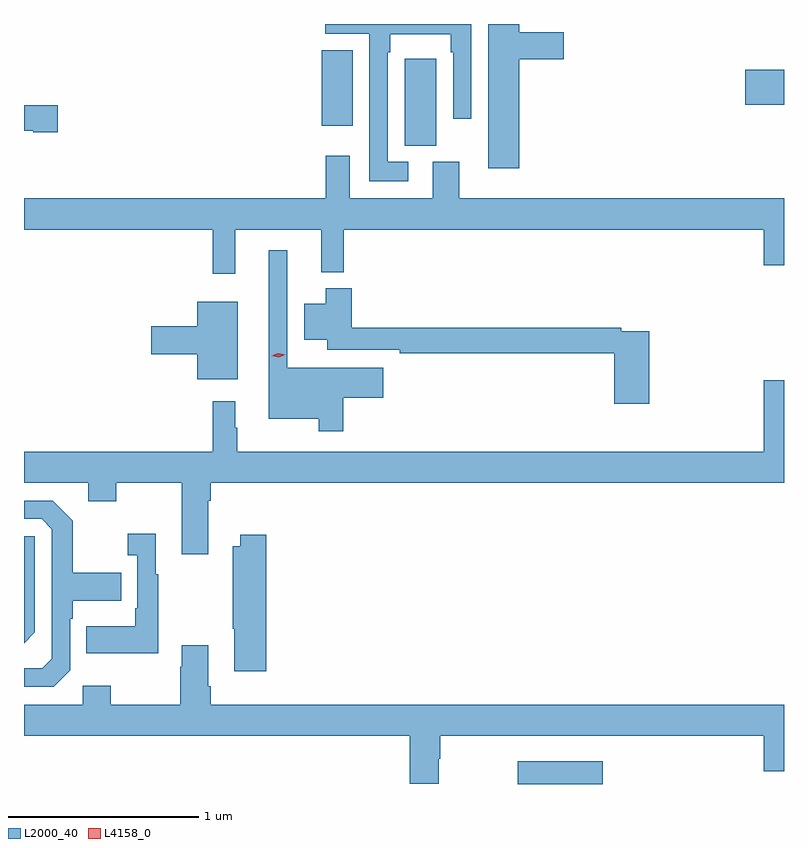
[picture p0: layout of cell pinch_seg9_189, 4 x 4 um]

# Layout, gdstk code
import gdstk
lib = gdstk.Library(unit=1e-6, precision=1e-09)
def R(c, l, rs):  # rectangles x0, y0, x1, y1
    for r in rs: c.add(gdstk.rectangle(r[:2], r[2:], *l))
def P(c, l, *ps):  # polygons
    for p in ps: c.add(gdstk.Polygon(p, *l))
L2000_40 = (2000, 40)
L4158_0 = (4158, 0)

pinch_seg9_189 = lib.new_cell('pinch_seg9_189')
R(pinch_seg9_189, L2000_40, [(643.233,1224.138,643.681,1224.259), (642.638,1227.497,642.805,1227.955), (642.203,1227.603,642.364,1228.001), (644.43,1227.713,644.635,1227.896)])
P(pinch_seg9_189, L2000_40, [(643.241,1227.953),(643.477,1227.953),(643.477,1228.095),(643.241,1228.095),(643.241,1228.138),(643.079,1228.138),(643.079,1227.378),(643.241,1227.378)],
  [(642.658,1227.412),(642.549,1227.412),(642.549,1227.989),(642.562,1227.989),(642.562,1228.085),(642.882,1228.085),(642.882,1227.989),(642.894,1227.989),(642.894,1227.639),(642.99,1227.639),(642.99,1228.138),(642.221,1228.138),(642.221,1228.086),(642.453,1228.086),(642.453,1227.311),(642.658,1227.311)],
  [(640.813,1227.71),(640.635,1227.71),(640.635,1227.575),(640.683,1227.575),(640.683,1227.568),(640.813,1227.568)],
  [(641.747,1227.056),(642.2,1227.056),(642.2,1226.831),(642.317,1226.831),(642.317,1227.056),(644.528,1227.056),(644.528,1226.868),(644.635,1226.868),(644.635,1227.22),(642.925,1227.22),(642.925,1227.412),(642.785,1227.412),(642.785,1227.22),(642.349,1227.22),(642.349,1227.445),(642.224,1227.445),(642.224,1227.22),(640.635,1227.22),(640.635,1227.056),(641.629,1227.056),(641.629,1226.823),(641.747,1226.823)],
  [(642.314,1226.171),(642.526,1226.171),(642.526,1226.329),(642.021,1226.329),(642.021,1226.947),(641.924,1226.947),(641.924,1226.06),(642.186,1226.06),(642.186,1225.995),(642.314,1225.995)],
  [(643.925,1226.52),(643.778,1226.52),(643.778,1226.54),(642.359,1226.54),(642.359,1226.746),(642.224,1226.746),(642.224,1226.665),(642.11,1226.665),(642.11,1226.477),(642.23,1226.477),(642.23,1226.424),(642.613,1226.424),(642.613,1226.404),(643.742,1226.404),(643.742,1226.139),(643.925,1226.139)],
  [(641.761,1226.677),(641.546,1226.677),(641.546,1226.546),(641.304,1226.546),(641.304,1226.399),(641.546,1226.399),(641.546,1226.267),(641.761,1226.267)],
  [(641.605,1225.628),(641.618,1225.628),(641.618,1225.724),(644.635,1225.724),(644.635,1226.263),(644.528,1226.263),(644.528,1225.888),(641.758,1225.888),(641.758,1226.012),(641.746,1226.012),(641.746,1226.152),(641.629,1226.152),(641.629,1225.888),(640.635,1225.888),(640.635,1225.724),(640.973,1225.724),(640.973,1225.625),(641.121,1225.625),(641.121,1225.724),(641.465,1225.724),(641.465,1225.347),(641.605,1225.347)],
  [(640.878,1224.738),(640.878,1225.007),(640.891,1225.007),(640.891,1225.103),(641.147,1225.103),(641.147,1225.251),(640.891,1225.251),(640.891,1225.523),(640.785,1225.629),(640.635,1225.629),(640.635,1225.533),(640.728,1225.533),(640.782,1225.479),(640.782,1224.798),(640.731,1224.747),(640.635,1224.747),(640.635,1224.651),(640.791,1224.651)],
  [(641.341,1225.243),(641.329,1225.243),(641.329,1225.456),(641.181,1225.456),(641.181,1225.343),(641.232,1225.343),(641.232,1225.063),(641.22,1225.063),(641.22,1224.967),(640.963,1224.967),(640.963,1224.827),(641.341,1224.827)],
  [(641.909,1225.45),(641.774,1225.45),(641.774,1225.39),(641.734,1225.39),(641.734,1224.955),(641.741,1224.955),(641.741,1224.732),(641.909,1224.732)],
  [(640.692,1224.936),(640.692,1225.443),(640.635,1225.443),(640.635,1224.879)],
  [(642.817,1224.272),(642.825,1224.272),(642.825,1224.392),(644.528,1224.392),(644.528,1224.204),(644.635,1224.204),(644.635,1224.556),(641.618,1224.556),(641.618,1224.652),(641.605,1224.652),(641.605,1224.868),(641.465,1224.868),(641.465,1224.755),(641.458,1224.755),(641.458,1224.556),(641.091,1224.556),(641.091,1224.655),(640.944,1224.655),(640.944,1224.556),(640.635,1224.556),(640.635,1224.392),(642.665,1224.392),(642.665,1224.14),(642.817,1224.14)])
P(pinch_seg9_189, L4158_0, [(641.976,1226.384),(641.94,1226.391),(641.94,1226.391),(641.94,1226.391),(641.974,1226.404),(642.01,1226.396),(642.011,1226.396),(642.01,1226.396)])

lib.write_gds('pinch_seg9_189.gds')
